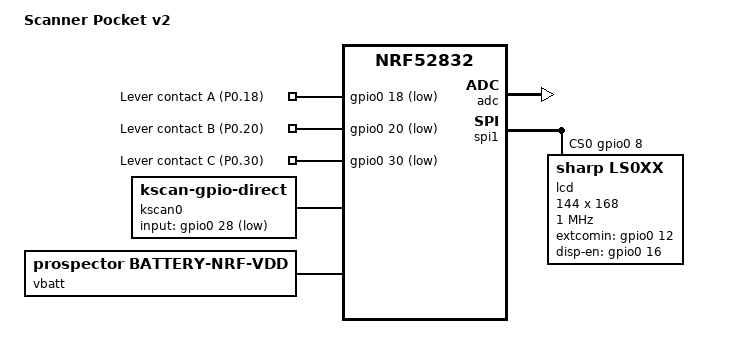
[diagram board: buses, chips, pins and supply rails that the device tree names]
/*
 * Scanner Pocket v2 - FDK HY0020 (nRF52832-CIAA) on a custom PCB.
 *
 * Pin assignments come from HANDOVER sections 13-14. Items marked PROVISIONAL
 * are design-time values that still have to be confirmed against the finished
 * KiCad schematic; do not treat them as final.
 *
 * SPDX-License-Identifier: MIT
 */

/dts-v1/;
#include <nordic/nrf52832_ciaa.dtsi>
#include "scanner_pocket_v2-pinctrl.dtsi"
#include <dt-bindings/zmk/matrix_transform.h>

/ {
    model = "Scanner Pocket v2";
    compatible = "t_ogura,scanner-pocket-v2";

    chosen {
        zephyr,code-partition = &code_partition;
        zephyr,sram = &sram0;
        zephyr,flash = &flash0;
        zephyr,display = &lcd;
        zmk,battery = &vbatt;
        zmk,kscan = &kscan0;
        zmk,matrix-transform = &default_transform;
    };

    /*
     * Alps SLLB510100 lever switch, three contacts on P0.18 / P0.20 / P0.30
     * (verified on hardware 2026-10-08). The device is a scanner, not a
     * keyboard, so the contacts drive the UI (pocket_display.c) through
     * gpio-keys rather than ZMK's key matrix. Which contact is "up",
     * "down" and "push" is set in pocket_display.c; swap there, not here.
     */
    gpio_keys {
        compatible = "gpio-keys";
        lever_a: lever_a {
            gpios = <&gpio0 18 (GPIO_ACTIVE_LOW | GPIO_PULL_UP)>;
            label = "Lever contact A (P0.18)";
        };
        lever_b: lever_b {
            gpios = <&gpio0 20 (GPIO_ACTIVE_LOW | GPIO_PULL_UP)>;
            label = "Lever contact B (P0.20)";
        };
        lever_c: lever_c {
            gpios = <&gpio0 30 (GPIO_ACTIVE_LOW | GPIO_PULL_UP)>;
            label = "Lever contact C (P0.30)";
        };
    };

    /*
     * ZMK still wants a kscan behind its physical layout. Park a one-key
     * matrix on P0.28, an otherwise unused module pin, so it never collides
     * with the lever inputs above (v1 shared D0 between the two - a bug).
     */
    kscan0: kscan {
        compatible = "zmk,kscan-gpio-direct";
        input-gpios = <&gpio0 28 (GPIO_ACTIVE_LOW | GPIO_PULL_UP)>;
    };

    /* CR2032 gauge: the SAADC samples VDD directly, no divider (HANDOVER 15) */
    vbatt: vbatt {
        compatible = "prospector,battery-nrf-vdd";
    };

    default_transform: keymap_transform_0 {
        compatible = "zmk,matrix-transform";
        columns = <1>;
        rows = <1>;
        map = <RC(0,0)>;
    };
};

&uicr {
    /* P0.21 is the module's nRESET pad (HY0020 J4): reset switch + FFC programmer */
    gpio-as-nreset;
};

/*
 * Regulator left in LDO mode on purpose. The module wires DCC to DEC4, but
 * DCDC mode is only enabled after the real board has been measured
 * (HANDOVER 24: do not assume the module's power path from firmware alone).
 */

&adc {
    status = "okay";
};

&gpiote {
    status = "okay";
};

&gpio0 {
    status = "okay";
};

/*
 * Sharp LS013B7DH05 Memory LCD (144 x 168, 1 bpp) - Phase D.
 *
 * Pins per HANDOVER 14.2 (SCLK P0.06, SI P0.07, SCS P0.08, EXTCOMIN P0.12,
 * DISP P0.16). Not yet cross-checked against the KiCad netlist; the lever
 * pins from the same table were right, and app/phase_d_lcd is the test.
 *
 * Electrical facts carried over from the v1 shield (zmk-scanner-pocket):
 * SPI 1 MHz, SCS active HIGH, LSB-first - all of which Zephyr's sharp,ls0xx
 * driver assumes. EXTMODE is tied to VCC on this board, so VCOM is inverted
 * by toggling EXTCOMIN; the driver does that from extcomin-gpios.
 */
&spi1 {
    /*
     * nordic,nrf-spi (non-DMA), not nrf-spim: Zephyr refuses SPIM on the
     * nRF52832 because of Product Anomaly 58 unless explicitly overridden,
     * and the nrf52dk_nrf52832 board makes the same choice. 1 MHz to a
     * write-only panel does not need DMA.
     */
    compatible = "nordic,nrf-spi";
    status = "okay";
    pinctrl-0 = <&spi1_default>;
    pinctrl-1 = <&spi1_sleep>;
    pinctrl-names = "default", "sleep";
    cs-gpios = <&gpio0 8 GPIO_ACTIVE_HIGH>;   /* SCS is active HIGH on this panel */

    lcd: ls013b7dh05@0 {
        compatible = "sharp,ls0xx";
        status = "okay";
        reg = <0>;
        spi-max-frequency = <1000000>;
        width = <144>;
        height = <168>;
        extcomin-gpios = <&gpio0 12 GPIO_ACTIVE_HIGH>;
        /*
         * PROVISIONAL: 10 Hz sits inside every VCOM range quoted for Sharp
         * memory LCDs (0.5-30 Hz / 1-60 Hz) and is well above the DC-balance
         * minimum. Replace with the LS013B7DH05 datasheet figure once read.
         */
        extcomin-frequency = <10>;
        disp-en-gpios = <&gpio0 16 GPIO_ACTIVE_HIGH>;
    };
};

&flash0 {
    partitions {
        compatible = "fixed-partitions";
        #address-cells = <1>;
        #size-cells = <1>;

        /* No bootloader: the application image starts at 0x0 (flashed over SWD) */
        code_partition: partition@0 {
            reg = <0x00000000 0x0007a000>;
        };

        /* Settings storage (NVS): 6 x 4 KiB pages at the top of flash */
        storage_partition: partition@7a000 {
            reg = <0x0007a000 0x00006000>;
        };
    };
};
